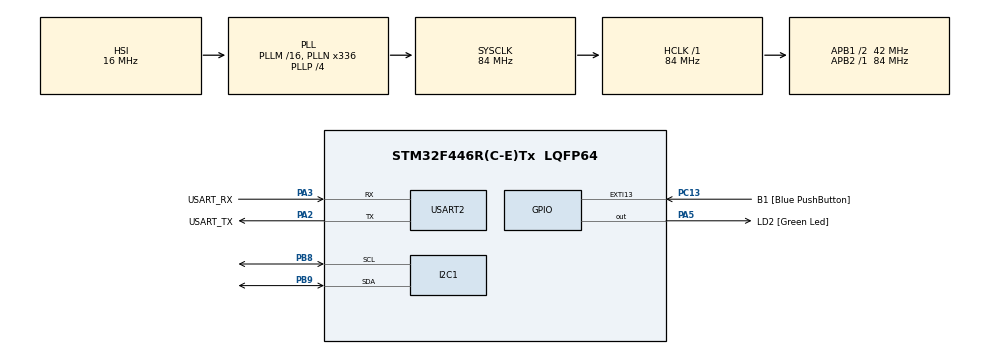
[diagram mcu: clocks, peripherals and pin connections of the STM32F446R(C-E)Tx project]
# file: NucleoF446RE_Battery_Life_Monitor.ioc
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Mcu.Family=STM32F4
Mcu.Name=STM32F446R(C-E)Tx
Mcu.Package=LQFP64
NVIC.PriorityGroup=NVIC_PRIORITYGROUP_0
PA13.GPIO_Label=TMS
PA13.Mode=Serial_Wire
PA13.Signal=SYS_JTMS-SWDIO
PA14.GPIO_Label=TCK
PA14.Mode=Serial_Wire
PA14.Signal=SYS_JTCK-SWCLK
PA2.GPIO_Label=USART_TX
PA2.Mode=Asynchronous
PA2.Signal=USART2_TX
PA3.GPIO_Label=USART_RX
PA3.Mode=Asynchronous
PA3.Signal=USART2_RX
PA5.GPIO_Label=LD2 [Green Led]
PA5.Signal=GPIO_Output
PB3.GPIO_Label=SWO
PB3.Signal=SYS_JTDO-SWO
PB8.Mode=I2C
PB8.Signal=I2C1_SCL
PB9.Mode=I2C
PB9.Signal=I2C1_SDA
PC13.GPIO_Label=B1 [Blue PushButton]
PC13.GPIO_ModeDefaultEXTI=GPIO_MODE_IT_FALLING
PC13.Signal=GPXTI13
PC14-OSC32_IN.Mode=LSE-External-Oscillator
PC14-OSC32_IN.Signal=RCC_OSC32_IN
PC15-OSC32_OUT.Mode=LSE-External-Oscillator
PC15-OSC32_OUT.Signal=RCC_OSC32_OUT
PH0-OSC_IN.Mode=HSE-External-Oscillator
PH0-OSC_IN.Signal=RCC_OSC_IN
PH1-OSC_OUT.Mode=HSE-External-Oscillator
PH1-OSC_OUT.Signal=RCC_OSC_OUT
ProjectManager.HeapSize=0x200
ProjectManager.StackSize=0x400
ProjectManager.TargetToolchain=STM32CubeIDE
RCC.48MHZClocksFreq_Value=84000000
RCC.AHBFreq_Value=84000000
RCC.APB1CLKDivider=RCC_HCLK_DIV2
RCC.APB1Freq_Value=42000000
RCC.APB1TimFreq_Value=84000000
RCC.APB2Freq_Value=84000000
RCC.APB2TimFreq_Value=84000000
RCC.CortexFreq_Value=84000000
RCC.FLatency-AdvancedSettings=FLASH_LATENCY_2
RCC.HCLKFreq_Value=84000000
RCC.HSE_VALUE=8000000
RCC.HSI_VALUE=16000000
RCC.PLLN=336
RCC.PLLP=RCC_PLLP_DIV4
RCC.SYSCLKFreq_VALUE=84000000
RCC.SYSCLKSource=RCC_SYSCLKSOURCE_PLLCLK
RCC.USBFreq_Value=168000000
RCC.VCOOutputFreq_Value=336000000
USART2.VirtualMode=VM_ASYNC
board=NUCLEO-F446RE

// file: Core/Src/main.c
/* USER CODE BEGIN Header */
/**
  ******************************************************************************
  * @file           : main.c
  * @brief          : Test the INA219 current sensor and develop functions
  * 				  for its library.
  * @author			: Brandon Thibeaux
  * @date			: Jan 29, 2022
  ******************************************************************************
  * @attention
  *
  * <h2><center>&copy; Copyright (c) 2022 STMicroelectronics.
  * All rights reserved.</center></h2>
  *
  * This software component is licensed by ST under BSD 3-Clause license,
  * the "License"; You may not use this file except in compliance with the
  * License. You may obtain a copy of the License at:
  *                        opensource.org/licenses/BSD-3-Clause
  *
  ******************************************************************************
  */
/* USER CODE END Header */
#include "main.h"

/* USER CODE BEGIN Includes */
#include <stdio.h>
#include <string.h>

#include "INA219.h"
/* USER CODE END Includes */

I2C_HandleTypeDef hi2c1;

UART_HandleTypeDef huart2;

void SystemClock_Config(void);
static void MX_GPIO_Init(void);
static void MX_USART2_UART_Init(void);
static void MX_I2C1_Init(void);

/* USER CODE BEGIN 0 */
INA219_t ina219;

uint16_t vbus, vshunt, current, config, power;
float batteryLife , miliwattAVG,miliWattTime,totalPowerUsed;
enum BatteryState state;

/* USER CODE END 0 */

int main(void)
{
  /* USER CODE BEGIN 1 */
/*
	//Device's address
#define INA219_ADDRESS 							(0x40)
	//Define registers
#define CONFIGURATION 0x00
#define SHUNT_VOLTAGE 0x01
#define BUS_VOLTAGE 0x02
#define POWER 0x03
#define CURRENT 0x04
#define CALIBRATION 0x05
*/
  /* USER CODE END 1 */

  /* MCU Configuration--------------------------------------------------------*/

  /* Reset of all peripherals, Initializes the Flash interface and the Systick. */
  HAL_Init();

  /* USER CODE BEGIN Init */
  unsigned char uart_tx_buff[100];

  /* USER CODE END Init */

  /* Configure the system clock */
  SystemClock_Config();

  /* Initialize all configured peripherals */
  MX_GPIO_Init();
  MX_USART2_UART_Init();
  MX_I2C1_Init();
  /* USER CODE BEGIN 2 */

  while(!INA219_Init(&ina219, &hi2c1, INA219_ADDRESS))
   {

   }

  /* USER CODE END 2 */

  /* Infinite loop */
  /* USER CODE BEGIN WHILE */

  //Let user know program is running..
  sprintf(uart_tx_buff, "**********		Hello battery app	 **********\r\n");
  HAL_UART_Transmit(&huart2, uart_tx_buff, strlen(uart_tx_buff), 100);

  config = Read16(&ina219, INA219_REG_CONFIG);

  sprintf(uart_tx_buff, "configuration register: %hu\r\n",config);
  HAL_UART_Transmit(&huart2, uart_tx_buff, strlen(uart_tx_buff), 100);

  while (1)
  {

	  //INA219_setPowerMode(&ina219, INA219_CONFIG_MODE_BVOLT_CONTINUOUS);

	  vbus = INA219_ReadBusVoltage(&ina219);
	  vshunt = INA219_ReadShuntVolage(&ina219);
	  current = INA219_ReadCurrent(&ina219);
	  power = INA219_ReadPower(&ina219);
	  batteryLife = INA219_GetBatteryLife(&ina219, 6000,4000);
	  miliwattAVG = INA219_GetAVGMiliWatt(&ina219);
	  miliWattTime = INA219_GetMiliWattsDeltaTime(&ina219);
	  totalPowerUsed = INA219_GetTotalPowerUsed(&ina219);
	  state= INA219_HealthCheck(&ina219,10.00,batteryLife);

	  sprintf(uart_tx_buff, "vbus: %hu mV\r\n",vbus);
	  HAL_UART_Transmit(&huart2, uart_tx_buff, strlen(uart_tx_buff), 100);

	  sprintf(uart_tx_buff, "vShunt: %hu mV\r\n",vshunt);
	  HAL_UART_Transmit(&huart2, uart_tx_buff, strlen(uart_tx_buff), 100);

	  sprintf(uart_tx_buff, "current: %hu mA\r\n",current);
	  HAL_UART_Transmit(&huart2, uart_tx_buff, strlen(uart_tx_buff), 100);

	  sprintf(uart_tx_buff, "power: %hu mW\r\n",power );
	  HAL_UART_Transmit(&huart2, uart_tx_buff, strlen(uart_tx_buff), 100);

	  sprintf(uart_tx_buff, "battery life: %.2f%%\r\n",batteryLife);
	  HAL_UART_Transmit(&huart2, uart_tx_buff, strlen(uart_tx_buff), 100);

	  sprintf(uart_tx_buff, "Mili-Watt average: %.2f mW\r\n",miliwattAVG);
	  HAL_UART_Transmit(&huart2, uart_tx_buff, strlen(uart_tx_buff), 100);

	  sprintf(uart_tx_buff, "Mili-Watts Seconds: %.2f mW*Sec\r\n",miliWattTime);
	  HAL_UART_Transmit(&huart2, uart_tx_buff, strlen(uart_tx_buff), 100);

	  sprintf(uart_tx_buff, "Total Mili-Watts Seconds : %.3f mW*Sec\r\n",totalPowerUsed);
	  HAL_UART_Transmit(&huart2, uart_tx_buff, strlen(uart_tx_buff), 100);

	  switch(state)
	  {
	  	  case(Battery_LOW):
	  			  sprintf(uart_tx_buff, "State of battery: LOW\r\n");
			  	  break;
	  	  case(Battery_OK):
	  			  sprintf(uart_tx_buff, "State of battery: OK\r\n");
	  			  break;
	  	  default:
	  		  	  sprintf(uart_tx_buff, "State of battery: Starting\r\n");
	  }
	  HAL_UART_Transmit(&huart2, uart_tx_buff, strlen(uart_tx_buff), 100);

	  HAL_UART_Transmit(&huart2, "\r\n", 2, 100);

	  HAL_Delay(1000);
    /* USER CODE END WHILE */

  }
}

void SystemClock_Config(void)
{
  RCC_OscInitTypeDef RCC_OscInitStruct = {0};
  RCC_ClkInitTypeDef RCC_ClkInitStruct = {0};

  /** Configure the main internal regulator output voltage
  */
  __HAL_RCC_PWR_CLK_ENABLE();
  __HAL_PWR_VOLTAGESCALING_CONFIG(PWR_REGULATOR_VOLTAGE_SCALE3);
  /** Initializes the RCC Oscillators according to the specified parameters
  * in the RCC_OscInitTypeDef structure.
  */
  RCC_OscInitStruct.OscillatorType = RCC_OSCILLATORTYPE_HSI;
  RCC_OscInitStruct.HSIState = RCC_HSI_ON;
  RCC_OscInitStruct.HSICalibrationValue = RCC_HSICALIBRATION_DEFAULT;
  RCC_OscInitStruct.PLL.PLLState = RCC_PLL_ON;
  RCC_OscInitStruct.PLL.PLLSource = RCC_PLLSOURCE_HSI;
  RCC_OscInitStruct.PLL.PLLM = 16;
  RCC_OscInitStruct.PLL.PLLN = 336;
  RCC_OscInitStruct.PLL.PLLP = RCC_PLLP_DIV4;
  RCC_OscInitStruct.PLL.PLLQ = 2;
  RCC_OscInitStruct.PLL.PLLR = 2;
  if (HAL_RCC_OscConfig(&RCC_OscInitStruct) != HAL_OK)
  {
    Error_Handler();
  }
  /** Initializes the CPU, AHB and APB buses clocks
  */
  RCC_ClkInitStruct.ClockType = RCC_CLOCKTYPE_HCLK|RCC_CLOCKTYPE_SYSCLK
                              |RCC_CLOCKTYPE_PCLK1|RCC_CLOCKTYPE_PCLK2;
  RCC_ClkInitStruct.SYSCLKSource = RCC_SYSCLKSOURCE_PLLCLK;
  RCC_ClkInitStruct.AHBCLKDivider = RCC_SYSCLK_DIV1;
  RCC_ClkInitStruct.APB1CLKDivider = RCC_HCLK_DIV2;
  RCC_ClkInitStruct.APB2CLKDivider = RCC_HCLK_DIV1;

  if (HAL_RCC_ClockConfig(&RCC_ClkInitStruct, FLASH_LATENCY_2) != HAL_OK)
  {
    Error_Handler();
  }
}

static void MX_I2C1_Init(void)
{

  hi2c1.Instance = I2C1;
  hi2c1.Init.ClockSpeed = 100000;
  hi2c1.Init.DutyCycle = I2C_DUTYCYCLE_2;
  hi2c1.Init.OwnAddress1 = 0;
  hi2c1.Init.AddressingMode = I2C_ADDRESSINGMODE_7BIT;
  hi2c1.Init.DualAddressMode = I2C_DUALADDRESS_DISABLE;
  hi2c1.Init.OwnAddress2 = 0;
  hi2c1.Init.GeneralCallMode = I2C_GENERALCALL_DISABLE;
  hi2c1.Init.NoStretchMode = I2C_NOSTRETCH_DISABLE;
  if (HAL_I2C_Init(&hi2c1) != HAL_OK)
  {
    Error_Handler();
  }

}

static void MX_USART2_UART_Init(void)
{

  huart2.Instance = USART2;
  huart2.Init.BaudRate = 115200;
  huart2.Init.WordLength = UART_WORDLENGTH_8B;
  huart2.Init.StopBits = UART_STOPBITS_1;
  huart2.Init.Parity = UART_PARITY_NONE;
  huart2.Init.Mode = UART_MODE_TX_RX;
  huart2.Init.HwFlowCtl = UART_HWCONTROL_NONE;
  huart2.Init.OverSampling = UART_OVERSAMPLING_16;
  if (HAL_UART_Init(&huart2) != HAL_OK)
  {
    Error_Handler();
  }

}

static void MX_GPIO_Init(void)
{
  GPIO_InitTypeDef GPIO_InitStruct = {0};

  /* GPIO Ports Clock Enable */
  __HAL_RCC_GPIOC_CLK_ENABLE();
  __HAL_RCC_GPIOH_CLK_ENABLE();
  __HAL_RCC_GPIOA_CLK_ENABLE();
  __HAL_RCC_GPIOB_CLK_ENABLE();

  /*Configure GPIO pin Output Level */
  HAL_GPIO_WritePin(LD2_GPIO_Port, LD2_Pin, GPIO_PIN_RESET);

  /*Configure GPIO pin : B1_Pin */
  GPIO_InitStruct.Pin = B1_Pin;
  GPIO_InitStruct.Mode = GPIO_MODE_IT_FALLING;
  GPIO_InitStruct.Pull = GPIO_NOPULL;
  HAL_GPIO_Init(B1_GPIO_Port, &GPIO_InitStruct);

  /*Configure GPIO pin : LD2_Pin */
  GPIO_InitStruct.Pin = LD2_Pin;
  GPIO_InitStruct.Mode = GPIO_MODE_OUTPUT_PP;
  GPIO_InitStruct.Pull = GPIO_NOPULL;
  GPIO_InitStruct.Speed = GPIO_SPEED_FREQ_LOW;
  HAL_GPIO_Init(LD2_GPIO_Port, &GPIO_InitStruct);

}

void Error_Handler(void)
{
  __disable_irq();
  while (1)
  {
  }
}

/************************ (C) COPYRIGHT STMicroelectronics *****END OF FILE****/
